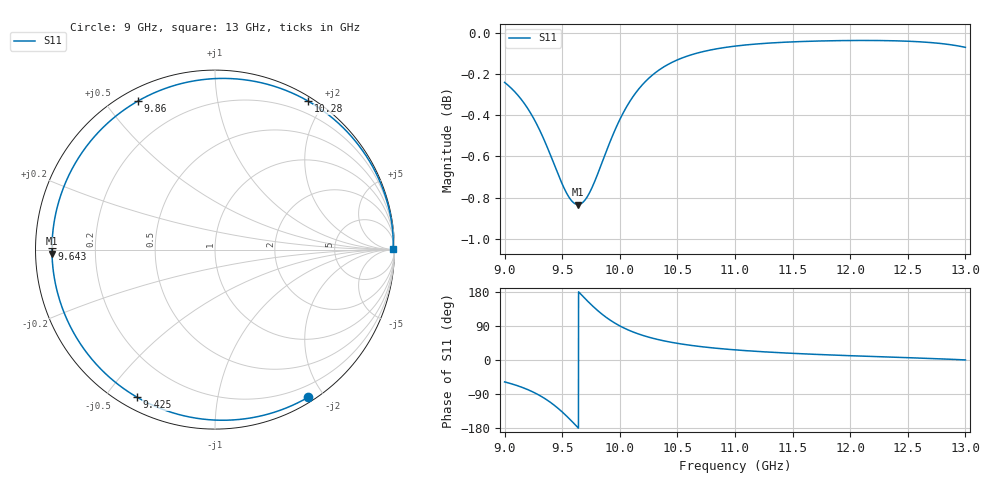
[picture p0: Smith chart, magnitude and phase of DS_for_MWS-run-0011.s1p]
! TOUCHSTONE file generated by CST DESIGN STUDIO
! Date and time: Tue Feb  4 16:14:35 2025
! Project name: C:\Work\MatlabApps\UnitCellOptimizationMatlab\CST\unitcell.cst
! Tree item: Tasks\Sweep1\SPara1\S-Parameters
! Header version: 2024
! Port assignment regex: !\s*Touchstone port\s*([0-9]+)\s*=\s*(CST MWS port|CST DES external port|CST DES block port)\s*(.+)\s* \(\"(.*)\"\)(\s*mode\s*([0-9]+))?.*
! Touchstone port assignment:
! Touchstone port 1 = CST DES external port 1 ("")
# GHz S MA R 50
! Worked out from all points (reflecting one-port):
!   4001 points, 9 GHz to 13 GHz, reference 50 ohm
!   lowest |S11| = -0.8 dB at 9.637 GHz (marker M1), VSWR 20.85, Z = 2.4 - j0.646 ohm
!   phase of S11 starts at -58 deg and turns -302 deg over the sweep
!   S11 on the Smith chart (normalised r, x): 9 GHz: 0.06, -1.81; 9.425 GHz: 0.05, -0.60; 9.643 GHz: 0.05, +0.00; 9.86 GHz: 0.05, +0.61; 10.28 GHz: 0.05, +1.81; 13 GHz: open
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9  0.9728 -57.8
9.108  0.9663 -67.5
9.215  0.9573 -80.0
9.331  0.9436 -98.3
9.38  0.9367 -108.0
9.425  0.9299 -117.9
9.463  0.9242 -127.3
9.5  0.919 -137.1
9.573  0.911 -158.4
9.637  0.9085 -178.5
9.643  0.9085 179.6
9.699  0.9109 161.9
9.76  0.9173 143.7
9.81  0.9245 129.9
9.86  0.9324 117.5
9.925  0.9424 103.5
10  0.9527 90.0
10.066  0.9603 80.2
10.133  0.9667 71.9
10.281  0.9767 57.8
10.384  0.9813 50.5
10.5  0.9851 43.9
10.719  0.9896 34.8
11  0.9927 26.7
11.5  0.9951 17.6
12  0.9958 11.3
12.5  0.9954 6.1
13  0.992 0.2
